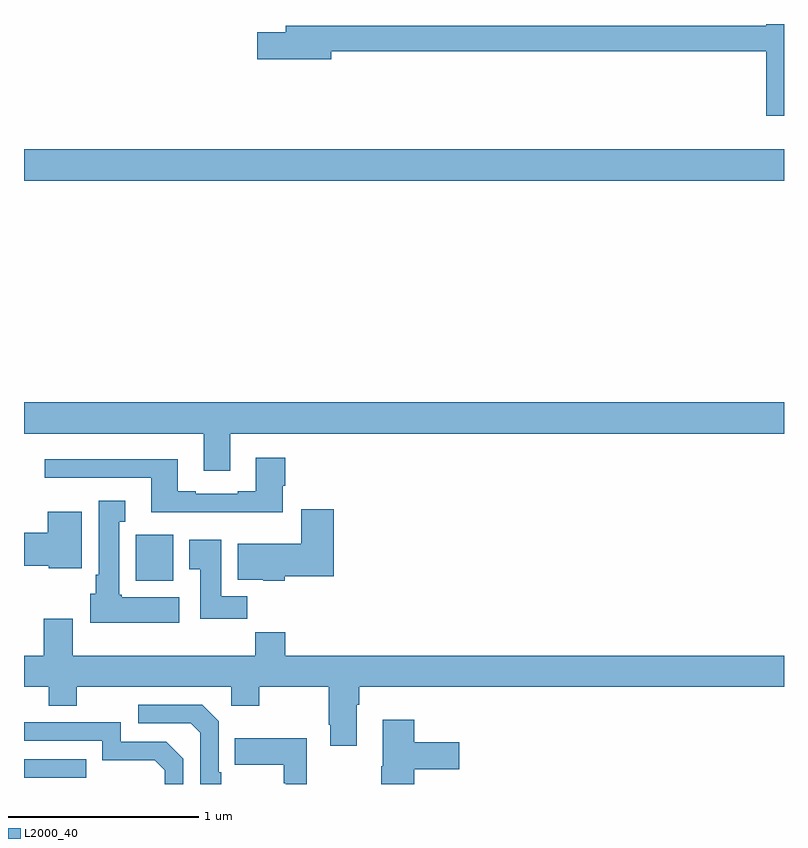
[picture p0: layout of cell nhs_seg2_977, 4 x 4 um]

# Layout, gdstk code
import gdstk
lib = gdstk.Library(unit=1e-6, precision=1e-09)
def R(c, l, rs):  # rectangles x0, y0, x1, y1
    for r in rs: c.add(gdstk.rectangle(r[:2], r[2:], *l))
def P(c, l, *ps):  # polygons
    for p in ps: c.add(gdstk.Polygon(p, *l))
L2000_40 = (2000, 40)

nhs_seg2_977 = lib.new_cell('nhs_seg2_977')
R(nhs_seg2_977, L2000_40, [(161,637.833,161.327,637.929), (161.588,638.87,161.785,639.112), (161,640.976,165,641.14)])
P(nhs_seg2_977, L2000_40, [(165,641.8),(164.906,641.8),(164.906,641.792),(162.377,641.792),(162.377,641.756),(162.228,641.756),(162.228,641.614),(162.616,641.614),(162.616,641.656),(164.906,641.656),(164.906,641.316),(165,641.316)],
  [(162.085,639.644),(165,639.644),(165,639.808),(161,639.808),(161,639.644),(161.945,639.644),(161.945,639.45),(162.085,639.45)],
  [(162.361,639.369),(162.374,639.369),(162.374,639.517),(162.221,639.517),(162.221,639.34),(162.125,639.34),(162.125,639.327),(161.905,639.327),(161.905,639.34),(161.809,639.34),(161.809,639.508),(161.109,639.508),(161.109,639.411),(161.669,639.411),(161.669,639.23),(162.361,639.23)],
  [(161.818,638.782),(161.514,638.782),(161.514,638.796),(161.5,638.796),(161.5,639.179),(161.533,639.179),(161.533,639.292),(161.393,639.292),(161.393,638.902),(161.378,638.902),(161.378,638.802),(161.348,638.802),(161.348,638.648),(161.818,638.648)],
  [(162.372,638.894),(162.629,638.894),(162.629,639.247),(162.458,639.247),(162.458,639.064),(162.125,639.064),(162.125,638.876),(162.258,638.876),(162.258,638.87),(162.372,638.87)],
  [(161.305,639.232),(161.126,639.232),(161.126,639.122),(161,639.122),(161,638.95),(161.13,638.95),(161.13,638.936),(161.305,638.936)],
  [(162.176,638.788),(162.037,638.788),(162.037,639.085),(161.87,639.085),(161.87,638.929),(161.927,638.929),(161.927,638.67),(162.176,638.67)],
  [(162.751,638.216),(162.764,638.216),(162.764,638.312),(165,638.312),(165,638.476),(162.374,638.476),(162.374,638.6),(162.217,638.6),(162.217,638.476),(161.257,638.476),(161.257,638.671),(161.105,638.671),(161.105,638.476),(161,638.476),(161,638.312),(161.129,638.312),(161.129,638.213),(161.277,638.213),(161.277,638.312),(162.09,638.312),(162.09,638.213),(162.237,638.213),(162.237,638.312),(162.604,638.312),(162.604,638.113),(162.611,638.113),(162.611,638.001),(162.751,638.001)],
  [(162.037,637.861),(162.024,637.861),(162.024,638.13),(161.937,638.217),(161.601,638.217),(161.601,638.121),(161.877,638.121),(161.928,638.07),(161.928,637.8),(162.037,637.8)],
  [(163.055,637.877),(163.291,637.877),(163.291,638.019),(163.055,638.019),(163.055,638.137),(162.887,638.137),(162.887,637.893),(162.88,637.893),(162.88,637.8),(163.055,637.8)],
  [(161.838,637.932),(161.748,638.022),(161.508,638.022),(161.508,638.124),(161,638.124),(161,638.028),(161.412,638.028),(161.412,637.925),(161.689,637.925),(161.742,637.872),(161.742,637.8),(161.838,637.8)],
  [(162.487,638.041),(162.109,638.041),(162.109,637.901),(162.366,637.901),(162.366,637.805),(162.378,637.805),(162.378,637.8),(162.487,637.8)])

lib.write_gds('nhs_seg2_977.gds')
